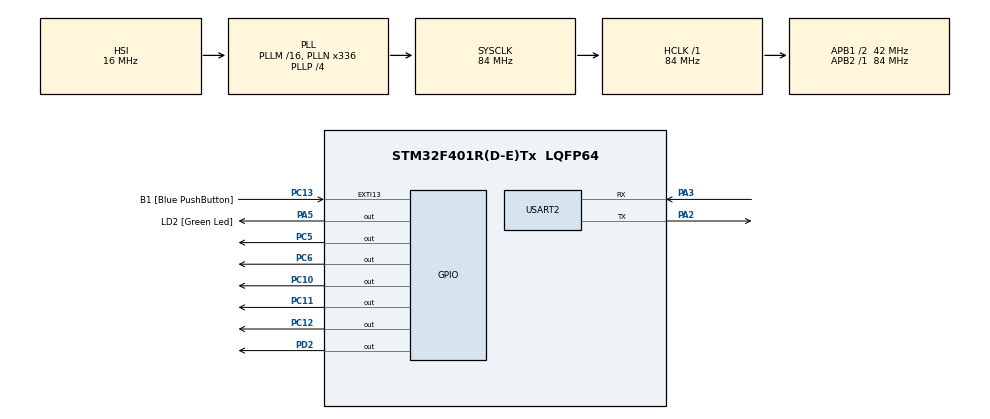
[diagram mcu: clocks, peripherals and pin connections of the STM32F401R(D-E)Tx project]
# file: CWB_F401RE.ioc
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Mcu.Family=STM32F4
PC15-OSC32_OUT.Mode=LSE-External-Oscillator
RCC.CortexFreq_Value=84000000
PC13-ANTI_TAMP.GPIO_PuPd=GPIO_NOPULL
PC13-ANTI_TAMP.GPIO_Label=B1 [Blue PushButton]
PC10.Signal=GPIO_Output
PC11.Signal=GPIO_Output
PC12.Signal=GPIO_Output
PA14.GPIO_Label=TCK
PH1\ -\ OSC_OUT.Mode=HSE-External-Clock-Source
PC6.Signal=GPIO_Output
RCC.APB1CLKDivider=RCC_HCLK_DIV2
PC14-OSC32_IN.Signal=RCC_OSC32_IN
NVIC.USART2_IRQn=true\:0\:0\:false\:false\:true\:true\:true
RCC.SYSCLKSource=RCC_SYSCLKSOURCE_PLLCLK
ProjectManager.StackSize=0x400
PA13.Signal=SYS_JTMS-SWDIO
PA3.Mode=Asynchronous
PH0\ -\ OSC_IN.Mode=HSE-External-Clock-Source
PH0\ -\ OSC_IN.Signal=RCC_OSC_IN
ProjectManager.TargetToolchain=STM32CubeIDE
RCC.HCLKFreq_Value=84000000
RCC.APB2TimFreq_Value=84000000
PC15-OSC32_OUT.Signal=RCC_OSC32_OUT
RCC.AHBFreq_Value=84000000
NVIC.EXTI15_10_IRQn=true\:0\:0\:false\:false\:true\:true\:true
PA5.Signal=GPIO_Output
RCC.HSE_VALUE=8000000
PH1\ -\ OSC_OUT.Signal=RCC_OSC_OUT
board=NUCLEO-F401RE
PC13-ANTI_TAMP.Signal=GPXTI13
RCC.VCOOutputFreq_Value=336000000
RCC.APB2Freq_Value=84000000
PC14-OSC32_IN.Mode=LSE-External-Oscillator
PA14.Mode=Serial_Wire
PA5.GPIO_PuPd=GPIO_NOPULL
PA13.Mode=Serial_Wire
Mcu.Name=STM32F401R(D-E)Tx
PA2.Signal=USART2_TX
PA13.GPIO_Label=TMS
RCC.48MHZClocksFreq_Value=48000000
PB3.Signal=SYS_JTDO-SWO
RCC.SYSCLKFreq_VALUE=84000000
Mcu.Package=LQFP64
PA5.GPIO_Label=LD2 [Green Led]
USART2.VirtualMode=VM_ASYNC
PC13-ANTI_TAMP.GPIO_ModeDefaultEXTI=GPIO_MODE_IT_FALLING
PA14.Signal=SYS_JTCK-SWCLK
ProjectManager.HeapSize=0x200
RCC.HSI_VALUE=16000000
RCC.PLLP=RCC_PLLP_DIV4
PA5.GPIO_Speed=GPIO_SPEED_FREQ_LOW
RCC.PLLQ=7
NVIC.PriorityGroup=NVIC_PRIORITYGROUP_0
RCC.PLLN=336
RCC.APB1TimFreq_Value=84000000
PA2.Mode=Asynchronous
PC5.Signal=GPIO_Output
PD2.Signal=GPIO_Output
RCC.APB1Freq_Value=42000000
PA5.GPIO_Mode=GPIO_MODE_OUTPUT_PP
PA3.Signal=USART2_RX
PB3.GPIO_Label=SWO

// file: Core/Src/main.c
/* USER CODE BEGIN Header */
/**
  ******************************************************************************
  * @file           : main.c
  * @brief          : Main program body
  ******************************************************************************
  * @attention
  *
  * <h2><center>&copy; Copyright (c) 2021 STMicroelectronics.
  * All rights reserved.</center></h2>
  *
  * This software component is licensed by ST under BSD 3-Clause license,
  * the "License"; You may not use this file except in compliance with the
  * License. You may obtain a copy of the License at:
  *                        opensource.org/licenses/BSD-3-Clause
  *
  ******************************************************************************
  */
/* USER CODE END Header */
#include "main.h"

/* USER CODE BEGIN Includes */
#include "stdio.h"
#include "ae_i2c.h"
/*
 * Make		: 2021.08.02
 * Creator	: JKS
 *
 *
 */

/* USER CODE END Includes */

/* USER CODE BEGIN PTD */
typedef unsigned char u8;
typedef signed char s8;
typedef unsigned short u16;
typedef signed short s16;
typedef unsigned int u32;
typedef signed int s32;
/* USER CODE END PTD */

/* USER CODE BEGIN PD */

#define UART_BUAD 		921600
#define RX_SIZE 		1024
#define BBB_HD_SIZE 	5
#define STREAM_HD 		7

#define P0(in) 			HAL_GPIO_WritePin(GPIOC, GPIO_PIN_6, in)
#define P1(in) 			HAL_GPIO_WritePin(GPIOC, GPIO_PIN_7, in)
#define P2(in) 			HAL_GPIO_WritePin(GPIOC, GPIO_PIN_8, in)
#define P3(in) 			HAL_GPIO_WritePin(GPIOC, GPIO_PIN_9, in)

#define P0_T 			HAL_GPIO_TogglePin(GPIOC, GPIO_PIN_6)
#define P1_T 			HAL_GPIO_TogglePin(GPIOC, GPIO_PIN_7)
#define P2_T 			HAL_GPIO_TogglePin(GPIOC, GPIO_PIN_8)
#define P3_T 			HAL_GPIO_TogglePin(GPIOC, GPIO_PIN_9)

#define S_CTRL(in)		HAL_GPIO_WritePin(GPIOC,GPIO_PIN_5, in) //HAL_GPIO_WritePin(GPIOC,GPIO_PIN_10, in)
#define S_EN(in)		HAL_GPIO_WritePin(GPIOC,GPIO_PIN_6, in) //HAL_GPIO_WritePin(GPIOC,GPIO_PIN_11, in)
#define T_CTRL			HAL_GPIO_TogglePin(GPIOC,GPIO_PIN_5)
#define T_EN			HAL_GPIO_TogglePin(GPIOC,GPIO_PIN_6)

#define T_LED 			HAL_GPIO_TogglePin(GPIOA, GPIO_PIN_5)

#define ENP(in)			HAL_GPIO_WritePin(GPIOC,GPIO_PIN_5, in)
#define ENN(in)			HAL_GPIO_WritePin(GPIOC,GPIO_PIN_6, in)

#define CWB_RESET 		SCB->AIRCR = 0x05FA0000 | 0x04

/* USER CODE END PD */

/* USER CODE BEGIN PM */
void Delay_us(int delay);
void DeviceSet(void);
int S_Wire_Func(int type);
int S_Wire_Test(int type);
void VCP_Transmit_Packet(int plus);
void VCP_Receive_Packet(void);
void HAL_UART_RxCpltCallback(UART_HandleTypeDef *huart);
void HAL_UART_TxCpltCallback(UART_HandleTypeDef *UartHandle);

u16 _8u16(u8 a, u8 b) { return (u16)(((u16)a << 8) | (u16)b); }
/* USER CODE END PM */

UART_HandleTypeDef huart2;

/* USER CODE BEGIN PV */

struct BBB_PACKET {
	u8 Buf[RX_SIZE];
	u8 Get;
	u32 RxSize;
	u32 TxSize;
};

struct FTUSB_SR {
	u32 Rx_Done : 1,
		Tx_Done : 1,
		reserve : 30;
};

/*Base Struct for BBB*/
struct FTUSB_SR 	USBsr;
struct BBB_PACKET	USBpk;

u16 g_update;
u16 g_firmver;
u16 g_hardver;

u32 g_swire_pulse_time;
u32 g_swire_init_time;
u32 g_swire_store_time;

u32 g_swire_pulse_time1;
u32 g_swire_init_time1;
u32 g_swire_store_time1;

u32 g_swire_pulse_time2;
u32 g_swire_init_time2;
u32 g_swire_store_time2;

u32 g_swire_pulse_time3;
u32 g_swire_init_time3;
u32 g_swire_store_time3;
u32 g_swire_test_flag;

u32 g_dw8786_pin_idle;
u32 g_dw8786_pin_mode;

u32 g_dw8790_mode;
/* USER CODE END PV */

void SystemClock_Config(void);
static void MX_GPIO_Init(void);
static void MX_USART2_UART_Init(void);

/* USER CODE BEGIN 0 */

/*Before use, stdio.h must be declared first.*/
#ifdef __cplusplus
extern "C" int _write(int32_t file, uint8_t *ptr, int32_t len) {
#else
int _write(int32_t file, uint8_t *ptr, int32_t len) {
#endif
    if( HAL_UART_Transmit(&huart2, ptr, len, len) == HAL_OK ) return len;
    else return 0;
}

/**************************************************************************
Function	: LED display
Date		: 2021.07.14
Version		: CLK base is 170Mhz
***************************************************************************/
void LED_LOOK()
{
	static int t;

	if(t > 500000) {
		t=0;
		T_LED;
	}
	else t++;
}

/**************************************************************************
Function	: soft delay
Date		: 2021.07.14
Version		: CLK base is 170Mhz
***************************************************************************/
void Delay_us(int delay)
{
	volatile int i, k;

	for(i=0; i < delay; i++) {
		for(k=0; k < 1; k++) {
			__asm volatile("NOP");
		}
	}

	for(i=0; i < delay; i++) {
		for(k=0; k < 2; k++) {
			__asm volatile("NOP");
			__asm volatile("NOP");
			__asm volatile("NOP");
			__asm volatile("NOP");
			__asm volatile("NOP");
			__asm volatile("NOP");
			__asm volatile("NOP");
			//__asm volatile("NOP");
		}
	}
}

/*
CN7 Header Pin
PC10 : CTRL
PC11 : EN
*/

int S_Wire_Func(int type)
{
	u32 cnt, p0, p1, p2, p3;

	p0 = (uint32_t)USBpk.Buf[6]<<8 | USBpk.Buf[7];
	p1 = (uint32_t)USBpk.Buf[8]<<8 | USBpk.Buf[9];
	p2 = (uint32_t)USBpk.Buf[10]<<8 | USBpk.Buf[11];
	p3 = (uint32_t)USBpk.Buf[12]<<8 | USBpk.Buf[13];

	if(type == 0) S_CTRL(1);
	else S_EN(1);

	//step 1: init time setting
	Delay_us(g_swire_init_time);

	//step 2: setup time setting
	for(cnt=0; cnt < p0; cnt++) {
		Delay_us(g_swire_pulse_time);	// setup time
		if(type == 0) T_CTRL;
		else T_EN;
	}

	Delay_us(g_swire_store_time);	// store time
	S_CTRL(0);

	if(g_swire_init_time1 > 0 && p1 > 0)
	{
		if(type == 0) S_CTRL(1);
		else S_EN(1);
		Delay_us(g_swire_init_time1);	// store time

		for(cnt=0; cnt < p1; cnt++) {
			Delay_us(g_swire_pulse_time1);	// setup time
			if(type == 0) T_CTRL;
			else T_EN;
		}
		Delay_us(g_swire_store_time1);	// store time
	}

	if(g_swire_init_time2 > 0 && p2 > 0)
	{
		if(type == 0) S_CTRL(1);
		else S_EN(1);
		Delay_us(g_swire_init_time2);	// store time

		for(cnt=0; cnt < p2; cnt++) {
			Delay_us(g_swire_pulse_time2);	// setup time
			if(type == 0) T_CTRL;
			else T_EN;
		}
		Delay_us(g_swire_store_time2);	// store time
	}

	if(g_swire_init_time3 > 0 && p3 > 0)
	{
		if(type == 0) S_CTRL(1);
		else S_EN(1);
		Delay_us(g_swire_init_time3);	// store time

		for(cnt=0; cnt < p3; cnt++) {
			Delay_us(g_swire_pulse_time3);	// setup time
			if(type == 0) T_CTRL;
			else T_EN;
		}
		Delay_us(g_swire_store_time3);	// store time
	}
	return 0;
}

int S_Wire_Test(int type)
{
	volatile uint32_t cnt, pulse, pulse1;

	if(g_swire_test_flag == 1) {

		pulse = (uint32_t)USBpk.Buf[7]<<8 | USBpk.Buf[8];
		pulse1 = (uint32_t)USBpk.Buf[9]<<8 | USBpk.Buf[10];

		HAL_GPIO_WritePin(GPIOD,GPIO_PIN_12, 1);
		Delay_us(g_swire_init_time);	// store time 1

		for(cnt=0; cnt < pulse; cnt++) {
			Delay_us(g_swire_pulse_time);	// setup time 1
			HAL_GPIO_TogglePin(GPIOD, GPIO_PIN_12);	// p3 wire
		}
		Delay_us(g_swire_store_time);	// store time 1

		g_swire_test_flag = 2;
	}

	if(g_swire_init_time1 > 0 && pulse1 > 0)
	{
		HAL_GPIO_WritePin(GPIOD,GPIO_PIN_12, 1);
		Delay_us(g_swire_init_time1);	// store time 2

		for(cnt=0; cnt < pulse1; cnt++) {
			Delay_us(g_swire_pulse_time1);	// setup time 1
			HAL_GPIO_TogglePin(GPIOD, GPIO_PIN_12);	// p3 wire
		}
		Delay_us(g_swire_store_time1);	// store time 2
	}

	return 0;
}

/**************************************************************************
Function	: Boot Message Function
Date		: 2021.07.13 JKS
Version		: 1.0
***************************************************************************/
void Boot_Message(void)
{
	g_update = 0x0729;
	g_firmver = 0x0005;
	g_hardver = 0x8786;
	g_swire_pulse_time = 10;
	g_swire_init_time = 1000;
	g_swire_store_time = 80;

	USBpk.Buf[5] = 0;
	USBpk.Buf[6] = 0;
	USBpk.Buf[7] = 1;
	USBpk.Buf[8] = g_hardver >> 8;
	USBpk.Buf[9] = (uint8_t)g_hardver;
	USBpk.Buf[10] = g_firmver >> 8;
	USBpk.Buf[11] = (uint8_t)g_firmver;
	USBpk.Buf[12] = g_update >> 8;
	USBpk.Buf[13] = (uint8_t)g_update;
	VCP_Transmit_Packet(10);
}

/**************************************************************************
Function	: Device Set Call Function
Date			: 2017.02.22
Version	: 1.0
***************************************************************************/
void DeviceSet(void)
{
	switch(USBpk.Buf[6]) {

	case 1:     // who are you
		if(USBpk.Buf[7] == 1) Boot_Message();
		break;
	case 2: // Reset
		SCB->AIRCR = 0x05FA0000 | 0x04;
		break;
	case 20:
		ENP(USBpk.Buf[7]);
		break;
	case 21:
		ENN(USBpk.Buf[7]);
		break;
	case 22:
		S_EN(USBpk.Buf[7]);
		break;
	case 23:
		S_CTRL(USBpk.Buf[7]);
		break;
	case 26:	// ctrl + en pin idle state set
		if(USBpk.Buf[7] == 1) g_dw8786_pin_idle = 1;
		else g_dw8786_pin_idle = 0;
		break;
	}
}

/**************************************************************************
Function	: VCP Transmit Packet (Maximum Transmit size 4Kbyte)
Date		: 2021.7.13 JKS
Version		: 1.0
Descript 	: size is Actual data size without header(5)
***************************************************************************/
void VCP_Transmit_Packet(int plus)
{
	USBpk.TxSize = plus;
	USBpk.Buf[0] = 0x28;
	USBpk.Buf[1] = 0xAE;
	USBpk.Buf[2] = USBpk.TxSize >> 8;
	USBpk.Buf[3] = USBpk.TxSize;
	USBpk.Buf[4] = USBpk.Buf[0] + USBpk.Buf[1] + USBpk.Buf[2] + USBpk.Buf[3];
	HAL_UART_Transmit_IT(&huart2,(uint8_t*)USBpk.Buf, USBpk.TxSize + BBB_HD_SIZE);

	/*Wait for the transfer to complete.*/
	//while(USBsr.Tx_Done == 0);
	//USBsr.Tx_Done = 0;
}

void i2c_task(void)
{
	int ret;

	u16 size;

	size = _8u16(USBpk.Buf[7], USBpk.Buf[8]);

	if(USBpk.Buf[6] == 4) { //multi read
		ret = i2c_read_task(USBpk.Buf[9], USBpk.Buf[10], 1, USBpk.Buf+12, size, 10);
		size = 7 + size;
	}

	else if(USBpk.Buf[6] == 5) { //multi write
		ret = i2c_write_task(USBpk.Buf[9], USBpk.Buf[10], 1, USBpk.Buf+11, size, 10);
		size = 7;
		VCP_Transmit_Packet(size);
	}

	if(ret == 1) { // noack
		size = 3;
		USBpk.Buf[5] = 0;
		USBpk.Buf[6] = 1;
		USBpk.Buf[7] = 1;
		VCP_Transmit_Packet(size);
	}

}

/**************************************************************************
Function	: VCP Receive Packet (Maximum Receive size 4Kbyte)
Date		: 2021.07.13 JKS
Version		: 1.0
***************************************************************************/
void VCP_Receive_Packet(void)
{
	switch(USBpk.Buf[5]) {
	case 0:
		DeviceSet();
		break;

	case 1: // I2C Command
		i2c_task();
		break;

	case 5: //	s-wire set
		g_swire_init_time = (uint32_t)USBpk.Buf[6]<<8 | USBpk.Buf[7];
		g_swire_pulse_time = (uint32_t)USBpk.Buf[8]<<8 | USBpk.Buf[9];
		g_swire_store_time = (uint32_t)USBpk.Buf[10]<<8 | USBpk.Buf[11];
		g_swire_init_time1 = (uint32_t)USBpk.Buf[12]<<8 | USBpk.Buf[13];
		g_swire_pulse_time1 = (uint32_t)USBpk.Buf[14]<<8 | USBpk.Buf[15];
		g_swire_store_time1 = (uint32_t)USBpk.Buf[16]<<8 | USBpk.Buf[17];
		g_swire_init_time2 = (uint32_t)USBpk.Buf[18]<<8 | USBpk.Buf[19];
		g_swire_pulse_time2 = (uint32_t)USBpk.Buf[20]<<8 | USBpk.Buf[21];
		g_swire_store_time2 = (uint32_t)USBpk.Buf[22]<<8 | USBpk.Buf[23];
		g_swire_init_time3 = (uint32_t)USBpk.Buf[24]<<8 | USBpk.Buf[25];
		g_swire_pulse_time3 = (uint32_t)USBpk.Buf[26]<<8 | USBpk.Buf[27];
		g_swire_store_time3 = (uint32_t)USBpk.Buf[28]<<8 | USBpk.Buf[29];
		VCP_Transmit_Packet(5);
		break;

	case 6: // s-wire play
		g_dw8786_pin_mode = USBpk.Buf[14];
		S_Wire_Func(g_dw8786_pin_mode);
		break;

	case 7: // s-wire test
		g_swire_test_flag = USBpk.Buf[6];
		break;
	}

	USBsr.Rx_Done = 0;
}

/* USER CODE END 0 */

int main(void)
{

  /* MCU Configuration--------------------------------------------------------*/

  /* Reset of all peripherals, Initializes the Flash interface and the Systick. */
  HAL_Init();

  /* Configure the system clock */
  SystemClock_Config();

  /* Initialize all configured peripherals */
  MX_GPIO_Init();
  MX_USART2_UART_Init();
  /* USER CODE BEGIN 2 */
  Boot_Message();
  HAL_UART_Receive_IT(&huart2, &USBpk.Get, 1);
  init_i2c();
  /* USER CODE END 2 */

  /* Infinite loop */
  while (1)
  {

    /* USER CODE BEGIN 3 */
	  LED_LOOK();
  }
  /* USER CODE END 3 */
}

void SystemClock_Config(void)
{
  RCC_OscInitTypeDef RCC_OscInitStruct = {0};
  RCC_ClkInitTypeDef RCC_ClkInitStruct = {0};

  /** Configure the main internal regulator output voltage
  */
  __HAL_RCC_PWR_CLK_ENABLE();
  __HAL_PWR_VOLTAGESCALING_CONFIG(PWR_REGULATOR_VOLTAGE_SCALE2);
  /** Initializes the RCC Oscillators according to the specified parameters
  * in the RCC_OscInitTypeDef structure.
  */
  RCC_OscInitStruct.OscillatorType = RCC_OSCILLATORTYPE_HSI;
  RCC_OscInitStruct.HSIState = RCC_HSI_ON;
  RCC_OscInitStruct.HSICalibrationValue = RCC_HSICALIBRATION_DEFAULT;
  RCC_OscInitStruct.PLL.PLLState = RCC_PLL_ON;
  RCC_OscInitStruct.PLL.PLLSource = RCC_PLLSOURCE_HSI;
  RCC_OscInitStruct.PLL.PLLM = 16;
  RCC_OscInitStruct.PLL.PLLN = 336;
  RCC_OscInitStruct.PLL.PLLP = RCC_PLLP_DIV4;
  RCC_OscInitStruct.PLL.PLLQ = 7;
  if (HAL_RCC_OscConfig(&RCC_OscInitStruct) != HAL_OK)
  {
    Error_Handler();
  }
  /** Initializes the CPU, AHB and APB buses clocks
  */
  RCC_ClkInitStruct.ClockType = RCC_CLOCKTYPE_HCLK|RCC_CLOCKTYPE_SYSCLK
                              |RCC_CLOCKTYPE_PCLK1|RCC_CLOCKTYPE_PCLK2;
  RCC_ClkInitStruct.SYSCLKSource = RCC_SYSCLKSOURCE_PLLCLK;
  RCC_ClkInitStruct.AHBCLKDivider = RCC_SYSCLK_DIV1;
  RCC_ClkInitStruct.APB1CLKDivider = RCC_HCLK_DIV2;
  RCC_ClkInitStruct.APB2CLKDivider = RCC_HCLK_DIV1;

  if (HAL_RCC_ClockConfig(&RCC_ClkInitStruct, FLASH_LATENCY_2) != HAL_OK)
  {
    Error_Handler();
  }
}

static void MX_USART2_UART_Init(void)
{

  huart2.Instance = USART2;
  huart2.Init.BaudRate = 115200;
  huart2.Init.WordLength = UART_WORDLENGTH_8B;
  huart2.Init.StopBits = UART_STOPBITS_1;
  huart2.Init.Parity = UART_PARITY_NONE;
  huart2.Init.Mode = UART_MODE_TX_RX;
  huart2.Init.HwFlowCtl = UART_HWCONTROL_NONE;
  huart2.Init.OverSampling = UART_OVERSAMPLING_16;
  if (HAL_UART_Init(&huart2) != HAL_OK)
  {
    Error_Handler();
  }
  /* USER CODE BEGIN USART2_Init 2 */
  huart2.Init.BaudRate = UART_BUAD;
  if (HAL_UART_Init(&huart2) != HAL_OK)
  {
    Error_Handler();
  }
  /* USER CODE END USART2_Init 2 */

}

static void MX_GPIO_Init(void)
{
  GPIO_InitTypeDef GPIO_InitStruct = {0};

  /* GPIO Ports Clock Enable */
  __HAL_RCC_GPIOC_CLK_ENABLE();
  __HAL_RCC_GPIOH_CLK_ENABLE();
  __HAL_RCC_GPIOA_CLK_ENABLE();
  __HAL_RCC_GPIOD_CLK_ENABLE();
  __HAL_RCC_GPIOB_CLK_ENABLE();

  /*Configure GPIO pin Output Level */
  HAL_GPIO_WritePin(LD2_GPIO_Port, LD2_Pin, GPIO_PIN_RESET);

  /*Configure GPIO pin Output Level */
  HAL_GPIO_WritePin(GPIOC, GPIO_PIN_5|GPIO_PIN_6|GPIO_PIN_10|GPIO_PIN_11
                          |GPIO_PIN_12, GPIO_PIN_RESET);

  /*Configure GPIO pin Output Level */
  HAL_GPIO_WritePin(GPIOD, GPIO_PIN_2, GPIO_PIN_RESET);

  /*Configure GPIO pin : B1_Pin */
  GPIO_InitStruct.Pin = B1_Pin;
  GPIO_InitStruct.Mode = GPIO_MODE_IT_FALLING;
  GPIO_InitStruct.Pull = GPIO_NOPULL;
  HAL_GPIO_Init(B1_GPIO_Port, &GPIO_InitStruct);

  /*Configure GPIO pin : LD2_Pin */
  GPIO_InitStruct.Pin = LD2_Pin;
  GPIO_InitStruct.Mode = GPIO_MODE_OUTPUT_PP;
  GPIO_InitStruct.Pull = GPIO_NOPULL;
  GPIO_InitStruct.Speed = GPIO_SPEED_FREQ_LOW;
  HAL_GPIO_Init(LD2_GPIO_Port, &GPIO_InitStruct);

  /*Configure GPIO pins : PC5 PC6 PC10 PC11
                           PC12 */
  GPIO_InitStruct.Pin = GPIO_PIN_5|GPIO_PIN_6|GPIO_PIN_10|GPIO_PIN_11
                          |GPIO_PIN_12;
  GPIO_InitStruct.Mode = GPIO_MODE_OUTPUT_PP;
  GPIO_InitStruct.Pull = GPIO_NOPULL;
  GPIO_InitStruct.Speed = GPIO_SPEED_FREQ_LOW;
  HAL_GPIO_Init(GPIOC, &GPIO_InitStruct);

  /*Configure GPIO pin : PD2 */
  GPIO_InitStruct.Pin = GPIO_PIN_2;
  GPIO_InitStruct.Mode = GPIO_MODE_OUTPUT_PP;
  GPIO_InitStruct.Pull = GPIO_NOPULL;
  GPIO_InitStruct.Speed = GPIO_SPEED_FREQ_LOW;
  HAL_GPIO_Init(GPIOD, &GPIO_InitStruct);

  /* EXTI interrupt init*/
  HAL_NVIC_SetPriority(EXTI15_10_IRQn, 0, 0);
  HAL_NVIC_EnableIRQ(EXTI15_10_IRQn);

}

/* USER CODE BEGIN 4 */

/**************************************************************************
Function	: EXTI line detection callbacks
Date		: 2021.06.13 JKS
Version		: 1.0
***************************************************************************/
void HAL_GPIO_EXTI_Callback(uint16_t GPIO_Pin)
{
	static uint8_t dat;

	if(GPIO_Pin == GPIO_PIN_13) {
		HAL_GPIO_TogglePin(GPIOA, GPIO_PIN_5);
		//printf("test\r\n");
		Boot_Message();
		dat++;
		i2c_write_task(0xe4, 0x01, 1, &dat, 1, 1);
		ENP(dat&0x01);
		ENN(dat&0x01);
	}
}

/**************************************************************************
Function	: Rx Transfer completed callback
Date		: 2019.10.28 JKS
Version		: 1.0
***************************************************************************/
void HAL_UART_RxCpltCallback(UART_HandleTypeDef *huart)
{
    u8 crc;
	static u32 RxCnt, g_RxSize;

	USBpk.Buf[RxCnt++] = USBpk.Get;

    if(RxCnt == 4) {
        g_RxSize = (((uint32_t)USBpk.Buf[2] << 8) | USBpk.Buf[3]) + 5;
    }

    if (RxCnt == g_RxSize) {
        crc = USBpk.Buf[0] + USBpk.Buf[1] + USBpk.Buf[2] + USBpk.Buf[3];

        if(USBpk.Buf[4] == crc) {
         HAL_GPIO_TogglePin(GPIOA, GPIO_PIN_5);
         VCP_Receive_Packet();
        }
        RxCnt = 0;
    }

	HAL_UART_Receive_IT(&huart2, &USBpk.Get, 1);
}

/**
  * @brief  Tx Transfer completed callback
  * @param  UartHandle: UART handle.
  * @note   This example shows a simple way to report end of DMA Tx transfer, and
  *         you can add your own implementation.
  * @retval None
  */
void HAL_UART_TxCpltCallback(UART_HandleTypeDef *UartHandle)
{
  /* Set transmission flag: transfer complete*/
	USBsr.Tx_Done = 1;
}
/* USER CODE END 4 */

void Error_Handler(void)
{
  __disable_irq();
  while (1)
  {
  }
}

/************************ (C) COPYRIGHT STMicroelectronics *****END OF FILE****/
